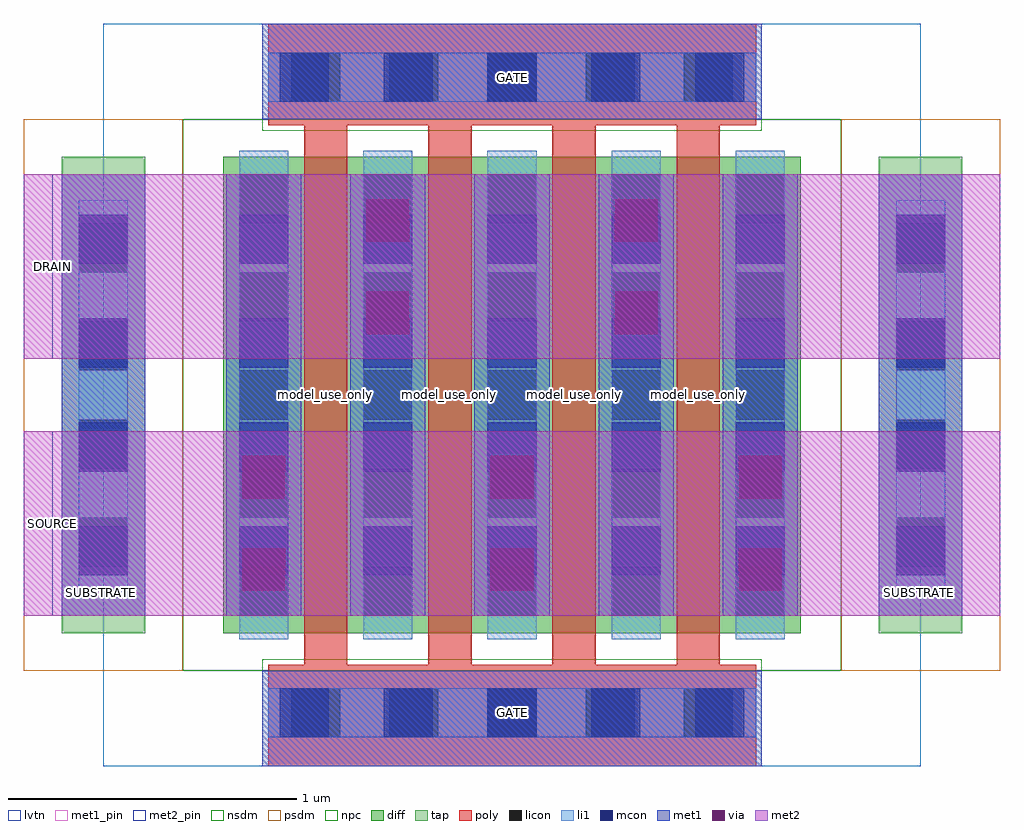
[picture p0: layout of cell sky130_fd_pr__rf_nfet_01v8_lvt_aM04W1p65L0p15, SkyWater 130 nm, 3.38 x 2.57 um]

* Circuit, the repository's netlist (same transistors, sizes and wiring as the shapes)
* Copyright 2020 The SkyWater PDK Authors
*
* Licensed under the Apache License, Version 2.0 (the "License");
* you may not use this file except in compliance with the License.
* You may obtain a copy of the License at
*
*     https://www.apache.org/licenses/LICENSE-2.0
*
* Unless required by applicable law or agreed to in writing, software
* distributed under the License is distributed on an "AS IS" BASIS,
* WITHOUT WARRANTIES OR CONDITIONS OF ANY KIND, either express or implied.
* See the License for the specific language governing permissions and
* limitations under the License.
*
* SPDX-License-Identifier: Apache-2.0


.subckt sky130_fd_pr__rf_nfet_01v8_lvt_aM04W1p65L0p15 DRAIN GATE SOURCE SUBSTRATE
X0 DRAIN GATE SOURCE SUBSTRATE sky130_fd_pr__nfet_01v8_lvt w=1.65e+06u l=150000u
X1 SOURCE GATE DRAIN SUBSTRATE sky130_fd_pr__nfet_01v8_lvt w=1.65e+06u l=150000u
X2 DRAIN GATE SOURCE SUBSTRATE sky130_fd_pr__nfet_01v8_lvt w=1.65e+06u l=150000u
X3 SOURCE GATE DRAIN SUBSTRATE sky130_fd_pr__nfet_01v8_lvt w=1.65e+06u l=150000u
.ends

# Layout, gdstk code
import gdstk
lib = gdstk.Library(unit=1e-6, precision=1e-09)
def R(c, l, rs):  # rectangles x0, y0, x1, y1
    for r in rs: c.add(gdstk.rectangle(r[:2], r[2:], *l))
def A(c, l, x, y, w, h, nx, ny, dx, dy):  # array of equal rectangles
    R(c, l, [(x+i*dx, y+j*dy, x+i*dx+w, y+j*dy+h) for i in range(nx) for j in range(ny)])
diff = (65, 20)
tap = (65, 44)
poly = (66, 20)
licon = (66, 44)
li1 = (67, 20)
mcon = (67, 44)
met1_pin = (68, 16)
met1 = (68, 20)
via = (68, 44)
met2_pin = (69, 16)
met2 = (69, 20)
nsdm = (93, 44)
psdm = (94, 20)
npc = (95, 20)
lvtn = (125, 44)

sky130_fd_pr__rf_nfet_01 = lib.new_cell('sky130_fd_pr__rf_nfet_01v8_lvt_aM04W1p65L0p15')
R(sky130_fd_pr__rf_nfet_01, diff, [(0.74,0.51,2.74,2.16)])
R(sky130_fd_pr__rf_nfet_01, tap, [(0.18,0.51,0.47,2.16), (3.01,0.51,3.3,2.16)])
A(sky130_fd_pr__rf_nfet_01, poly, 1.02, 0.4, 0.15, 1.87, 4, 1, 0.43, 0)
R(sky130_fd_pr__rf_nfet_01, poly, [(0.895,0.05,2.585,0.4), (0.895,2.27,2.585,2.62)])
A(sky130_fd_pr__rf_nfet_01, licon, 0.975, 0.15, 0.17, 0.17, 5, 2, 0.34, 2.2)
A(sky130_fd_pr__rf_nfet_01, licon, 0.795, 0.57, 0.17, 0.17, 3, 1, 0.43, 0)
A(sky130_fd_pr__rf_nfet_01, licon, 1.655, 0.57, 0.17, 0.17, 3, 1, 0.43, 0)
A(sky130_fd_pr__rf_nfet_01, licon, 0.24, 0.74, 0.17, 0.17, 1, 4, 0, 0.34)
A(sky130_fd_pr__rf_nfet_01, licon, 3.07, 0.74, 0.17, 0.17, 1, 4, 0, 0.34)
A(sky130_fd_pr__rf_nfet_01, licon, 0.795, 0.91, 0.17, 0.17, 5, 4, 0.43, 0.34)
R(sky130_fd_pr__rf_nfet_01, licon, [(0.795,0.57,0.965,0.74), (2.515,0.57,2.685,0.74)])
A(sky130_fd_pr__rf_nfet_01, li1, 0.795, 0.49, 0.17, 1.69, 5, 1, 0.43, 0)
R(sky130_fd_pr__rf_nfet_01, li1, [(0.895,0.15,2.585,0.32), (0.935,0.15,2.545,0.32), (0.24,0.66,0.41,2.01), (3.07,0.66,3.24,2.01), (0.895,2.35,2.585,2.52), (0.935,2.35,2.545,2.52)])
A(sky130_fd_pr__rf_nfet_01, mcon, 0.935, 0.15, 0.17, 0.17, 5, 2, 0.36, 2.2)
A(sky130_fd_pr__rf_nfet_01, mcon, 0.24, 0.71, 0.17, 0.17, 1, 4, 0, 0.36)
A(sky130_fd_pr__rf_nfet_01, mcon, 0.795, 0.71, 0.17, 0.17, 5, 4, 0.43, 0.36)
A(sky130_fd_pr__rf_nfet_01, mcon, 3.07, 0.71, 0.17, 0.17, 1, 4, 0, 0.36)
R(sky130_fd_pr__rf_nfet_01, met1_pin, [(0.875,0.05,2.605,0.38), (0.18,0.57,0.47,0.65), (3.01,0.57,3.3,0.65), (0.875,2.29,2.605,2.62)])
A(sky130_fd_pr__rf_nfet_01, met1, 0.75, 0.57, 0.26, 1.53, 5, 1, 0.43, 0)
R(sky130_fd_pr__rf_nfet_01, met1, [(0.875,0.05,2.605,0.38), (0.18,0.57,0.47,2.1), (3.01,0.57,3.3,2.1), (0.875,2.29,2.605,2.62)])
A(sky130_fd_pr__rf_nfet_01, via, 0.805, 0.655, 0.15, 0.15, 3, 2, 0.86, 0.32)
R(sky130_fd_pr__rf_nfet_01, via, [(1.235,1.545,1.385,1.695), (2.095,1.545,2.245,1.695), (1.235,1.865,1.385,2.015), (2.095,1.865,2.245,2.015)])
R(sky130_fd_pr__rf_nfet_01, met2_pin, [(0.05,0.57,0.15,1.21), (0.05,1.46,0.15,2.1)])
R(sky130_fd_pr__rf_nfet_01, met2, [(0.05,0.57,3.43,1.21), (0.05,1.46,3.43,2.1)])
R(sky130_fd_pr__rf_nfet_01, nsdm, [(0.6,0.38,2.88,2.29)])
R(sky130_fd_pr__rf_nfet_01, psdm, [(0.05,0.38,0.6,2.29), (2.88,0.38,3.43,2.29)])
R(sky130_fd_pr__rf_nfet_01, npc, [(0.875,0.05,2.605,0.42), (0.875,2.25,2.605,2.62)])
R(sky130_fd_pr__rf_nfet_01, lvtn, [(0.325,0.05,3.155,2.62)])
sky130_fd_pr__rf_nfet_01.add(gdstk.Label('model_use_only', (1.095,1.335), layer=66, texttype=83))
sky130_fd_pr__rf_nfet_01.add(gdstk.Label('model_use_only', (1.525,1.335), layer=66, texttype=83))
sky130_fd_pr__rf_nfet_01.add(gdstk.Label('model_use_only', (2.385,1.335), layer=66, texttype=83))
sky130_fd_pr__rf_nfet_01.add(gdstk.Label('model_use_only', (1.955,1.335), layer=66, texttype=83))
sky130_fd_pr__rf_nfet_01.add(gdstk.Label('DRAIN', (0.15,1.78), layer=69, texttype=5))
sky130_fd_pr__rf_nfet_01.add(gdstk.Label('SOURCE', (0.15,0.89), layer=69, texttype=5))
sky130_fd_pr__rf_nfet_01.add(gdstk.Label('GATE', (1.74,2.435), layer=68, texttype=5))
sky130_fd_pr__rf_nfet_01.add(gdstk.Label('GATE', (1.74,0.235), layer=68, texttype=5))
sky130_fd_pr__rf_nfet_01.add(gdstk.Label('SUBSTRATE', (3.15,0.65), layer=68, texttype=5))
sky130_fd_pr__rf_nfet_01.add(gdstk.Label('SUBSTRATE', (0.32,0.65), layer=68, texttype=5))

lib.write_gds('sky130_fd_pr__rf_nfet_01v8_lvt_aM04W1p65L0p15.gds')
